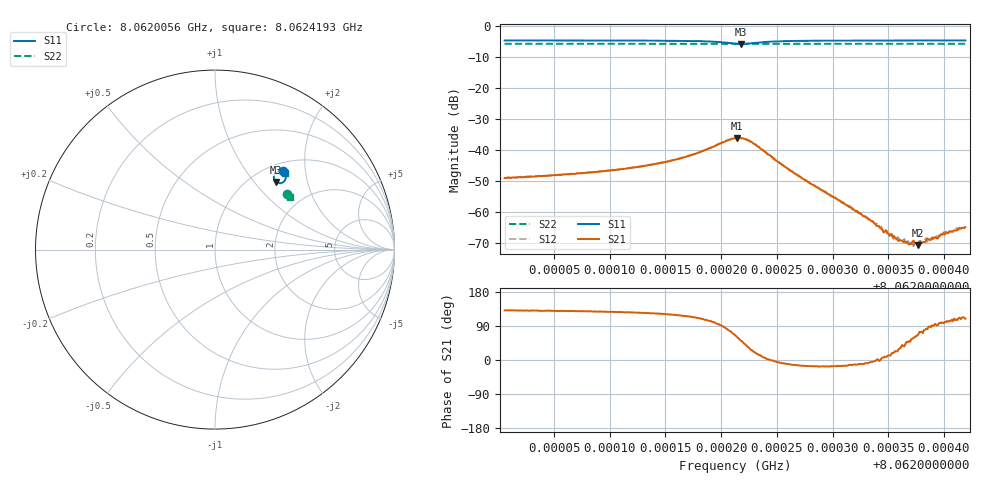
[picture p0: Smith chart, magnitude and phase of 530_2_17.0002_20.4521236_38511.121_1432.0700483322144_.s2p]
#  HZ  S  RI  R  50.00
! Rohde & Schwarz Vector Network Analyzer
! Rohde-Schwarz,ZNB20-2Port,1311601062101988,3.16
! Created: UTC 3/20/2024, 11:15:52 PM
! freq[Hz]  re:S11  im:S11  re:S21  im:S21  re:S12  im:S12  re:S22  im:S22
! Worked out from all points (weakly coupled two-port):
!   401 points, 8.0620056 GHz to 8.0624193 GHz, reference 50 ohm
!   highest |S21| = -36.14 dB at 8.0622145 GHz (marker M1); lowest = -70.6 dB at 8.0623769 GHz (marker M2)
!   lowest |S11| = -5.9 dB at 8.0622176 GHz (marker M3), VSWR 3.06, Z = 64.5 + j65.3 ohm
!   |S11| at or under -10 dB: nowhere
!   |S22| runs from -5.9 to -5.9 dB; largest |S21 - S12| = 0.001
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8.06200563e9  0.3773 0.4353  -0.00232 0.00268  -0.00215 0.00282  0.4031 0.311
8.06207491e9  0.3833 0.4293  -0.00263 0.00331  -0.00246 0.00347  0.4056 0.3076
8.06211007e9  0.3867 0.4251  -0.00293 0.00392  -0.00269 0.00412  0.4068 0.3054
8.0621442e9  0.3908 0.4182  -0.00323 0.00514  -0.00295 0.00538  0.4082 0.3036
8.06217419e9  0.3942 0.4058  -0.00331 0.00768  -0.00288 0.00794  0.4091 0.3015
8.06219694e9  0.3879 0.3834  -0.00114 0.0121  -0.000458 0.0123  0.4094 0.2995
8.06221245e9  0.3563 0.37  0.00629 0.0139  0.00729 0.0138  0.4083 0.2986
8.06221452e9  0.3499 0.3715  0.00765 0.0136  0.00855 0.0131  0.4079 0.2986
8.06221762e9  0.341 0.3762  0.00971 0.0122  0.0104 0.0118  0.4077 0.299
8.06222383e9  0.3294 0.3924  0.0117 0.00826  0.0124 0.00763  0.4077 0.2994
8.0622321e9  0.3298 0.4144  0.0111 0.00331  0.0115 0.00267  0.4082 0.3
8.06225381e9  0.3525 0.4348  0.00585 -0.000798  0.00586 -0.00117  0.4103 0.2996
8.06228173e9  0.3684 0.4353  0.00268 -0.000783  0.00266 -0.000961  0.4119 0.2982
8.06232413e9  0.3787 0.4316  0.000966 -0.000172  0.000936 -0.000219  0.4139 0.2958
8.06235102e9  0.3827 0.4294  0.000406 8.52e-05  0.000412 5.5e-05  0.4148 0.2944
8.06235619e9  0.3832 0.4291  0.000354 0.000152  0.000341 0.000132  0.4151 0.2941
8.06236756e9  0.3846 0.428  0.000214 0.000228  0.000239 0.000244  0.4152 0.2935
8.06237687e9  0.3856 0.4275  0.000116 0.000271  0.000169 0.00026  0.4158 0.293
8.06238204e9  0.386 0.427  6.49e-05 0.000324  0.000106 0.000345  0.4159 0.2926
8.06239342e9  0.3871 0.4262  -4.6e-06 0.000378  2.38e-05 0.00041  0.4163 0.2921
8.06240376e9  0.3882 0.4254  -8.61e-05 0.000449  -0.000117 0.000462  0.4166 0.2914
8.06241927e9  0.3894 0.4244  -0.000187 0.000542  -0.00017 0.000557  0.4172 0.2907
